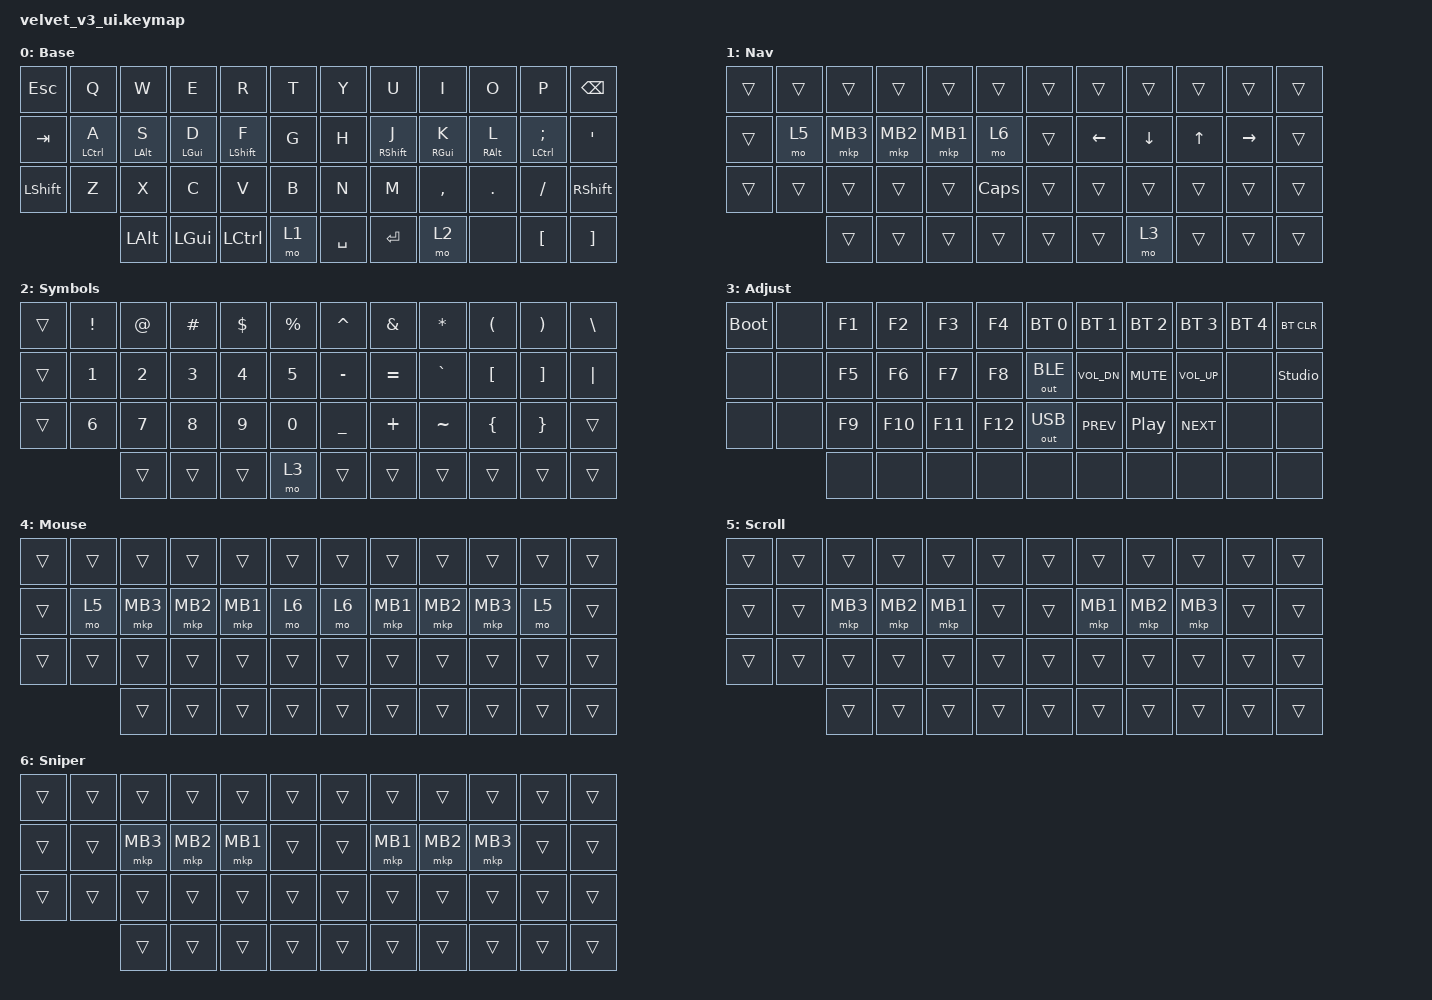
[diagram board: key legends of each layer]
#include "keys_ru.h"
#include <dt-bindings/zmk/input_transform.h>
#include <input/processors.dtsi>
#include <zephyr/dt-bindings/input/input-event-codes.h>
#include <behaviors.dtsi>
#include <dt-bindings/zmk/bt.h>
#include <dt-bindings/zmk/keys.h>
#include <dt-bindings/zmk/outputs.h>
#include <dt-bindings/zmk/pointing.h>

/ {
    behaviors {
        bhrm_left: bhrm_left {
            compatible = "zmk,behavior-hold-tap";
            #binding-cells = <2>;
            tapping-term-ms = <170>;
            quick-tap-ms = <100>;
            flavor = "tap-preferred";
            bindings = <&kp>, <&kp>;

            hold-trigger-key-positions = <
                    6 7 8 9 10 11
                    18 19 20 21 22 23
                    30 31 32 33 34 35
                    41 42 43 44 45
            >;

            hold-trigger-on-release;
        };

        bhrm_right: bhrm_right {
            compatible = "zmk,behavior-hold-tap";
            #binding-cells = <2>;
            tapping-term-ms = <170>;
            quick-tap-ms = <100>;
            flavor = "tap-preferred";
            bindings = <&kp>, <&kp>;

            hold-trigger-key-positions = <
                    0 1 2 3 4 5
                    12 13 14 15 16 17
                    24 25 26 27 28 29
                    36 37 38 39 40
            >;

            hold-trigger-on-release;
        };
    };

    keymap {
        compatible = "zmk,keymap";

        base {
            bindings = <
&kp ESC    &kp Q               &kp W              &kp E              &kp R               &kp T                        &kp Y  &kp U                &kp I               &kp O               &kp P                          &kp BSPC
&kp TAB    &bhrm_left LCTRL A  &bhrm_left LALT S  &bhrm_left LGUI D  &bhrm_left LSHFT F  &kp G                        &kp H  &bhrm_right RSHFT J  &bhrm_right RGUI K  &bhrm_right RALT L  &bhrm_right LEFT_CONTROL SEMI  &kp SQT
&kp LSHFT  &kp Z               &kp X              &kp C              &kp V               &kp B                        &kp N  &kp M                &kp COMMA           &kp DOT             &kp FSLH                       &kp RSHFT
                               &kp LALT           &kp LGUI           &kp LCTRL           &mo 1  &kp SPACE    &kp RET  &mo 2  &none                &kp LBKT            &kp RBKT
            >;

            display-name = "Base";
        };

        nav {
            bindings = <
&trans  &trans  &trans    &trans    &trans    &trans                      &trans  &trans    &trans    &trans  &trans     &trans
&trans  &mo 5   &mkp MB3  &mkp MB2  &mkp MB1  &mo 6                       &trans  &kp LEFT  &kp DOWN  &kp UP  &kp RIGHT  &trans
&trans  &trans  &trans    &trans    &trans    &kp CLCK                    &trans  &trans    &trans    &trans  &trans     &trans
                &trans    &trans    &trans    &trans    &trans    &trans  &mo 3   &trans    &trans    &trans
            >;

            display-name = "Nav";
        };

        sym {
            bindings = <
&trans  &kp EXCL  &kp AT  &kp HASH  &kp DLLR  &kp PRCNT                    &kp CARET  &kp AMPS   &kp STAR   &kp LPAR  &kp RPAR  &kp BSLH
&trans  &kp N1    &kp N2  &kp N3    &kp N4    &kp N5                       &kp MINUS  &kp EQUAL  &kp GRAVE  &kp LBKT  &kp RBKT  &kp PIPE
&trans  &kp N6    &kp N7  &kp N8    &kp N9    &kp N0                       &kp UNDER  &kp PLUS   &kp TILDE  &kp LBRC  &kp RBRC  &trans
                  &trans  &trans    &trans    &mo 3      &trans    &trans  &trans     &trans     &trans     &trans
            >;

            display-name = "Symbols";
        };

        adj {
            bindings = <
&bootloader  &none  &kp F1  &kp F2   &kp F3   &kp F4                   &bt BT_SEL 0  &bt BT_SEL 1  &bt BT_SEL 2      &bt BT_SEL 3  &bt BT_SEL 4  &bt BT_CLR
&none        &none  &kp F5  &kp F6   &kp F7   &kp F8                   &out OUT_BLE  &kp C_VOL_DN  &kp C_MUTE        &kp C_VOL_UP  &none         &studio_unlock
&none        &none  &kp F9  &kp F10  &kp F11  &kp F12                  &out OUT_USB  &kp C_PREV    &kp C_PLAY_PAUSE  &kp C_NEXT    &none         &none
                    &none   &none    &none    &none    &none    &none  &none         &none         &none             &none
            >;

            display-name = "Adjust";
        };

        mouse {
            bindings = <
&trans  &trans  &trans    &trans    &trans    &trans                    &trans  &trans    &trans    &trans    &trans  &trans
&trans  &mo 5   &mkp MB3  &mkp MB2  &mkp MB1  &mo 6                     &mo 6   &mkp MB1  &mkp MB2  &mkp MB3  &mo 5   &trans
&trans  &trans  &trans    &trans    &trans    &trans                    &trans  &trans    &trans    &trans    &trans  &trans
                &trans    &trans    &trans    &trans  &trans    &trans  &trans  &trans    &trans    &trans
            >;

            display-name = "Mouse";
        };

        scroll {
            bindings = <
&trans  &trans  &trans    &trans    &trans    &trans                    &trans  &trans    &trans    &trans    &trans  &trans
&trans  &trans  &mkp MB3  &mkp MB2  &mkp MB1  &trans                    &trans  &mkp MB1  &mkp MB2  &mkp MB3  &trans  &trans
&trans  &trans  &trans    &trans    &trans    &trans                    &trans  &trans    &trans    &trans    &trans  &trans
                &trans    &trans    &trans    &trans  &trans    &trans  &trans  &trans    &trans    &trans
            >;

            display-name = "Scroll";
        };

        sniper {
            bindings = <
&trans  &trans  &trans    &trans    &trans    &trans                    &trans  &trans    &trans    &trans    &trans  &trans
&trans  &trans  &mkp MB3  &mkp MB2  &mkp MB1  &trans                    &trans  &mkp MB1  &mkp MB2  &mkp MB3  &trans  &trans
&trans  &trans  &trans    &trans    &trans    &trans                    &trans  &trans    &trans    &trans    &trans  &trans
                &trans    &trans    &trans    &trans  &trans    &trans  &trans  &trans    &trans    &trans
            >;

            display-name = "Sniper";
        };
    };
};

&trackball { cpi = <1000>; };

&trackball_listener {
    input-processors = <&zip_xy_scaler 3 2>;

    scroller {
        layers = <5>;
        input-processors =
            <&zip_xy_transform INPUT_TRANSFORM_Y_INVERT>,
            <&zip_xy_scaler 1 8>,
            <&zip_xy_to_scroll_mapper>;
    };

    sniper {
        layers = <6>;
        input-processors = <&zip_xy_scaler 1 2>;
    };
};
